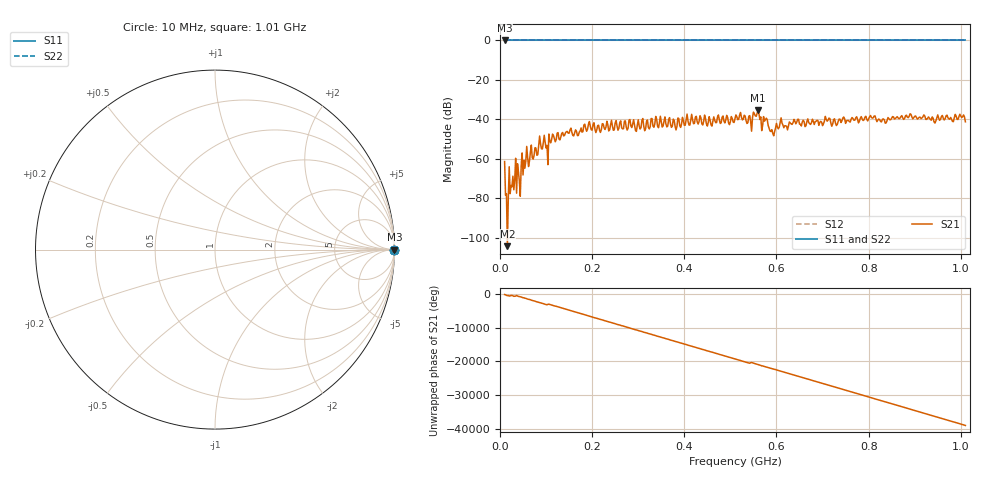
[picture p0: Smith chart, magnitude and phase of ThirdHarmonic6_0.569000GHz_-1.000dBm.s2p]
! 8/15/2025 6:15:58 PM
! C:\ANRITSUVNA\TEMP\TEMP.S2P
! CHANNEL.1
! TR.MEASUREMENT
! RAW.DATA
! RF.CORRECTION.OFF
! AVERAGING.OFF
! IF.BANDWIDTH: 5KHZ
! SWEEPTYPE:  FREQ.SWEEP(Linear)
! Reference Plane Port Info
! PORT:  PORT1  PORT2
! DISTANCE:  0  m  0  m
! TIME:  0  s  0  s
! PHASE.OFFSET:  0  deg.  0  deg.
! LOSS:  0  dB  0  dB
! REF.LOSS:  0  dB  0  dB
! REF.FREQ:  0  Hz  0  Hz
! Power Info
! POWER:  -20  dBm  -20  dBm
! EFF.POWER:  -20  dBm  -20  dBm
! SOURCE.ATTEN:  0  dB  0  dB
! TEST.ATTEN:  0  dB  0  dB
# GHZ S RI R 50.0
! FREQ.GHZ  S11RE  S11IM  S21RE  S21IM  S12RE  S12IM  S22RE  S22IM
!; PortSelection: Port_12
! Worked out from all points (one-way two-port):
!   501 points, 10 MHz to 1.01 GHz, reference 50 ohm
!   highest |S21| = -35.50 dB at 560 MHz (marker M1); lowest = -104.3 dB at 16 MHz (marker M2)
!   lowest |S11| = 0.0 dB at 10 MHz (marker M3)
!   |S11| at or under -10 dB: nowhere
!   |S22| runs from 0.0 to 0.0 dB; largest |S21 - S12| = 1
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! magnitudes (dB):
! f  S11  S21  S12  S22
! 10 MHz  0.0  -61.4  0.0  0.0
! 16 MHz  0.0  -104.3  0.0  0.0
! 24 MHz  0.0  -73.5  0.0  0.0
! 26 MHz  0.0  -74.2  0.0  0.0
! 36 MHz  0.0  -77.4  0.0  0.0
! 40 MHz  0.0  -66.6  0.0  0.0
! 56 MHz  0.0  -61.1  0.0  0.0
! 88 MHz  0.0  -52.5  0.0  0.0
! 104 MHz  0.0  -63.0  0.0  0.0
! 110 MHz  0.0  -51.9  0.0  0.0
! 178 MHz  0.0  -46.5  0.0  0.0
! 344 MHz  0.0  -44.3  0.0  0.0
! 510 MHz  0.0  -39.7  0.0  0.0
! 542 MHz  0.0  -38.1  0.0  0.0
! 560 MHz  0.0  -35.5  0.0  0.0
! 566 MHz  0.0  -38.8  0.0  0.0
! 576 MHz  0.0  -40.2  0.0  0.0
! 590 MHz  0.0  -45.2  0.0  0.0
! 610 MHz  0.0  -39.3  0.0  0.0
! 678 MHz  0.0  -40.0  0.0  0.0
! 844 MHz  0.0  -39.7  0.0  0.0
! 1.01 GHz  0.0  -41.2  0.0  0.0
